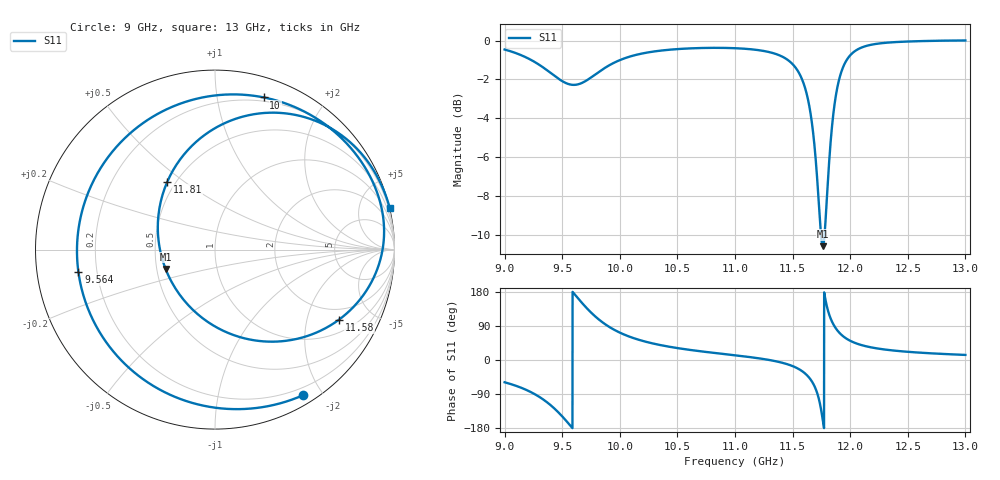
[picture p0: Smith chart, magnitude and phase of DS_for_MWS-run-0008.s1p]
! TOUCHSTONE file generated by CST DESIGN STUDIO
! Date and time: Tue Feb  4 14:10:44 2025
! Project name: C:\Work\MatlabApps\UnitCellOptimizationMatlab\CST\unitcell.cst
! Tree item: Tasks\Sweep1\SPara1\S-Parameters
! Header version: 2024
! Port assignment regex: !\s*Touchstone port\s*([0-9]+)\s*=\s*(CST MWS port|CST DES external port|CST DES block port)\s*(.+)\s* \(\"(.*)\"\)(\s*mode\s*([0-9]+))?.*
! Touchstone port assignment:
! Touchstone port 1 = CST DES external port 1 ("")
# GHz S MA R 50
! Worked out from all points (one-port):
!   4001 points, 9 GHz to 13 GHz, reference 50 ohm
!   lowest |S11| = -10.6 dB at 11.76 GHz (marker M1), VSWR 1.84, Z = 27.9 - j6.63 ohm
!   |S11| at or under -10 dB: 11.74668 GHz to 11.77733 GHz (30.66 MHz wide, 0.261 % of centre)
!   S11 on the Smith chart (normalised r, x): 9 GHz: 0.11, -1.77; 9.564 GHz: 0.13, -0.08; 10 GHz: 0.17, +1.36; 11.58 GHz: 1.49, -3.14; 11.81 GHz: 0.45, +0.43; 13 GHz: -0.02, +8.51
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9  0.9482 -58.7
9.155  0.9137 -74.6
9.306  0.8639 -98.2
9.406  0.8226 -120.9
9.5  0.7861 -148.7
9.564  0.7712 -170.8
9.658  0.7748 155.4
9.775  0.813 118.2
9.874  0.8515 94.2
10  0.8903 72.3
10.213  0.9284 49.2
10.5  0.9505 31.4
11  0.9555 12.4
11.303  0.9328 -0.3
11.5  0.8694 -16.1
11.583  0.7933 -29.5
11.639  0.6927 -44.9
11.691  0.5319 -69.7
11.726  0.3879 -100.4
11.762  0.2955 -158.5
11.812  0.4615 125.2
11.847  0.6213 98.1
11.884  0.7457 79.9
11.94  0.8565 62.3
12  0.9161 50.7
12.177  0.9746 33.6
12.5  0.9941 21.6
13  1 13.4
